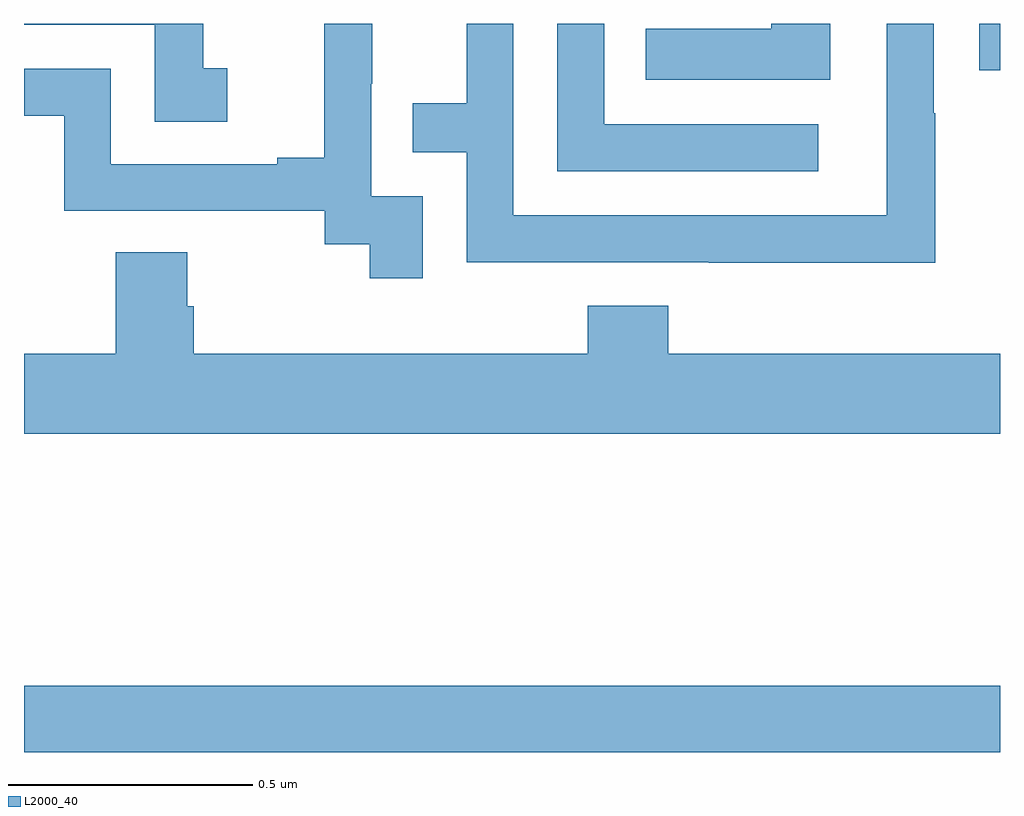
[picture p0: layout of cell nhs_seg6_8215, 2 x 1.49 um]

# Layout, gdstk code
import gdstk
lib = gdstk.Library(unit=1e-6, precision=1e-09)
def R(c, l, rs):  # rectangles x0, y0, x1, y1
    for r in rs: c.add(gdstk.rectangle(r[:2], r[2:], *l))
def P(c, l, *ps):  # polygons
    for p in ps: c.add(gdstk.Polygon(p, *l))
L2000_40 = (2000, 40)

nhs_seg6_8215 = lib.new_cell('nhs_seg6_8215')
R(nhs_seg6_8215, L2000_40, [(218,956.008,220,956.144), (219.957,957.405,220,957.5)])
P(nhs_seg6_8215, L2000_40, [(219.628,957.294),(219.189,957.294),(219.189,957.5),(219.093,957.5),(219.093,957.198),(219.628,957.198)],
  [(219.652,957.5),(219.531,957.5),(219.531,957.49),(219.274,957.49),(219.274,957.386),(219.652,957.386)],
  [(218.817,957.147),(218.712,957.147),(218.712,957.377),(218.714,957.377),(218.714,957.5),(218.615,957.5),(218.615,957.226),(218.519,957.226),(218.519,957.213),(218.178,957.213),(218.178,957.408),(218,957.408),(218,957.312),(218.082,957.312),(218.082,957.117),(218.616,957.117),(218.616,957.049),(218.709,957.049),(218.709,956.979),(218.817,956.979)],
  [(219.867,957.317),(219.864,957.317),(219.864,957.5),(219.768,957.5),(219.768,957.108),(219.003,957.108),(219.003,957.5),(218.907,957.5),(218.907,957.338),(218.797,957.338),(218.797,957.237),(218.907,957.237),(218.907,957.012),(219.403,957.012),(219.403,957.011),(219.867,957.011)],
  [(218.416,957.409),(218.367,957.409),(218.367,957.5),(218,957.5),(218,957.498),(218.268,957.498),(218.268,957.3),(218.416,957.3)],
  [(220,956.824),(219.32,956.824),(219.32,956.923),(219.155,956.923),(219.155,956.824),(218.348,956.824),(218.348,956.922),(218.335,956.922),(218.335,957.032),(218.188,957.032),(218.188,956.824),(218,956.824),(218,956.66),(220,956.66)])

lib.write_gds('nhs_seg6_8215.gds')
